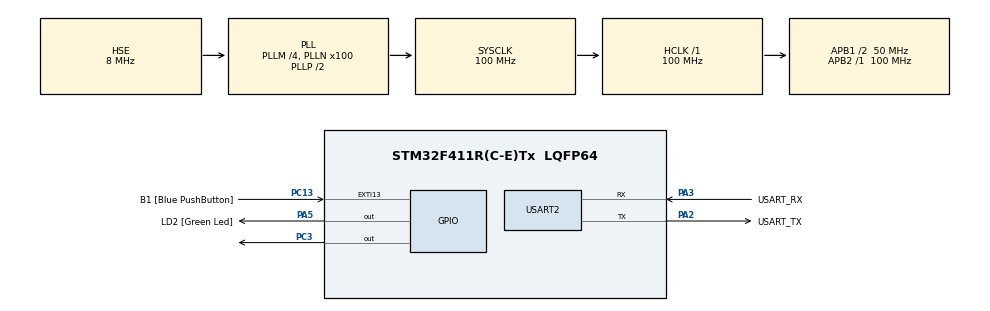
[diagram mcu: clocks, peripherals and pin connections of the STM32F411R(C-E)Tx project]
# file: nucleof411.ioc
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Mcu.Family=STM32F4
Mcu.Name=STM32F411R(C-E)Tx
Mcu.Package=LQFP64
NVIC.EXTI15_10_IRQn=true\:0\:0\:false\:false\:true\:true\:true\:true
NVIC.PriorityGroup=NVIC_PRIORITYGROUP_0
NVIC.TIM2_IRQn=true\:0\:0\:false\:false\:true\:true\:true\:true
PA13.GPIO_Label=TMS
PA13.Mode=Serial_Wire
PA13.Signal=SYS_JTMS-SWDIO
PA14.GPIO_Label=TCK
PA14.Mode=Serial_Wire
PA14.Signal=SYS_JTCK-SWCLK
PA2.GPIO_Label=USART_TX
PA2.Mode=Asynchronous
PA2.Signal=USART2_TX
PA3.GPIO_Label=USART_RX
PA3.Mode=Asynchronous
PA3.Signal=USART2_RX
PA5.GPIO_Label=LD2 [Green Led]
PA5.Signal=GPIO_Output
PB3.GPIO_Label=SWO
PB3.Signal=SYS_JTDO-SWO
PC13-ANTI_TAMP.GPIO_Label=B1 [Blue PushButton]
PC13-ANTI_TAMP.GPIO_ModeDefaultEXTI=GPIO_MODE_IT_FALLING
PC13-ANTI_TAMP.Signal=GPXTI13
PC14-OSC32_IN.Mode=LSE-External-Oscillator
PC14-OSC32_IN.Signal=RCC_OSC32_IN
PC15-OSC32_OUT.Mode=LSE-External-Oscillator
PC15-OSC32_OUT.Signal=RCC_OSC32_OUT
PC3.Signal=GPIO_Output
PH0\ -\ OSC_IN.Mode=HSE-External-Clock-Source
PH0\ -\ OSC_IN.Signal=RCC_OSC_IN
PH1\ -\ OSC_OUT.Mode=HSE-External-Clock-Source
PH1\ -\ OSC_OUT.Signal=RCC_OSC_OUT
ProjectManager.HeapSize=0x200
ProjectManager.StackSize=0x400
ProjectManager.TargetToolchain=STM32CubeIDE
RCC.48MHZClocksFreq_Value=50000000
RCC.AHBFreq_Value=100000000
RCC.APB1CLKDivider=RCC_HCLK_DIV2
RCC.APB1Freq_Value=50000000
RCC.APB1TimFreq_Value=100000000
RCC.APB2Freq_Value=100000000
RCC.APB2TimFreq_Value=100000000
RCC.CortexFreq_Value=100000000
RCC.FLatency-AdvancedSettings=FLASH_LATENCY_3
RCC.HCLKFreq_Value=100000000
RCC.HSE_VALUE=8000000
RCC.HSI_VALUE=16000000
RCC.PLLM=4
RCC.PLLN=100
RCC.PLLSourceVirtual=RCC_PLLSOURCE_HSE
RCC.SYSCLKFreq_VALUE=100000000
RCC.SYSCLKSource=RCC_SYSCLKSOURCE_PLLCLK
RCC.VCOOutputFreq_Value=200000000
TIM2.Period=1999
TIM2.Prescaler=9999
USART2.VirtualMode=VM_ASYNC
VP_TIM2_VS_ClockSourceINT.Mode=Internal
board=NUCLEO-F411RE

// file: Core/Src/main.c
/* USER CODE BEGIN Header */
/**
  ******************************************************************************
  * @file           : main.c
  * @brief          : Main program body
  ******************************************************************************
  * @attention
  *
  * Copyright (c) 2026 STMicroelectronics.
  * All rights reserved.
  *
  * This software is licensed under terms that can be found in the LICENSE file
  * in the root directory of this software component.
  * If no LICENSE file comes with this software, it is provided AS-IS.
  *
  ******************************************************************************
  */
/* USER CODE END Header */
#include "main.h"
#include <stdio.h>

TIM_HandleTypeDef htim2;

UART_HandleTypeDef huart2;

/* USER CODE BEGIN PV */
static void MX_TIM2_Init(void);
uint8_t click = 0;
char msg3[50];
/* USER CODE END PV */

void SystemClock_Config(void);
static void MX_GPIO_Init(void);
static void MX_USART2_UART_Init(void);
static void MX_TIM2_Init(void);

int main(void)
{

  /* MCU Configuration--------------------------------------------------------*/

  /* Reset of all peripherals, Initializes the Flash interface and the Systick. */
  HAL_Init();

  /* Configure the system clock */
  SystemClock_Config();

  /* Initialize all configured peripherals */
  MX_GPIO_Init();
  MX_USART2_UART_Init();
  MX_TIM2_Init();
  /* USER CODE BEGIN 2 */
  HAL_TIM_Base_Start_IT(&htim2);
  /* USER CODE END 2 */

  /* Infinite loop */
  /* USER CODE BEGIN WHILE */
  while (1)
  {
	  __WFI();
    /* USER CODE END WHILE */
  }
}

void SystemClock_Config(void)
{
  RCC_OscInitTypeDef RCC_OscInitStruct = {0};
  RCC_ClkInitTypeDef RCC_ClkInitStruct = {0};

  /** Configure the main internal regulator output voltage
  */
  __HAL_RCC_PWR_CLK_ENABLE();
  __HAL_PWR_VOLTAGESCALING_CONFIG(PWR_REGULATOR_VOLTAGE_SCALE1);

  /** Initializes the RCC Oscillators according to the specified parameters
  * in the RCC_OscInitTypeDef structure.
  */
  RCC_OscInitStruct.OscillatorType = RCC_OSCILLATORTYPE_HSE;
  RCC_OscInitStruct.HSEState = RCC_HSE_BYPASS;
  RCC_OscInitStruct.PLL.PLLState = RCC_PLL_ON;
  RCC_OscInitStruct.PLL.PLLSource = RCC_PLLSOURCE_HSE;
  RCC_OscInitStruct.PLL.PLLM = 4;
  RCC_OscInitStruct.PLL.PLLN = 100;
  RCC_OscInitStruct.PLL.PLLP = RCC_PLLP_DIV2;
  RCC_OscInitStruct.PLL.PLLQ = 4;
  if (HAL_RCC_OscConfig(&RCC_OscInitStruct) != HAL_OK)
  {
    Error_Handler();
  }

  /** Initializes the CPU, AHB and APB buses clocks
  */
  RCC_ClkInitStruct.ClockType = RCC_CLOCKTYPE_HCLK|RCC_CLOCKTYPE_SYSCLK
                              |RCC_CLOCKTYPE_PCLK1|RCC_CLOCKTYPE_PCLK2;
  RCC_ClkInitStruct.SYSCLKSource = RCC_SYSCLKSOURCE_PLLCLK;
  RCC_ClkInitStruct.AHBCLKDivider = RCC_SYSCLK_DIV1;
  RCC_ClkInitStruct.APB1CLKDivider = RCC_HCLK_DIV2;
  RCC_ClkInitStruct.APB2CLKDivider = RCC_HCLK_DIV1;

  if (HAL_RCC_ClockConfig(&RCC_ClkInitStruct, FLASH_LATENCY_3) != HAL_OK)
  {
    Error_Handler();
  }
}

static void MX_TIM2_Init(void)
{

  TIM_ClockConfigTypeDef sClockSourceConfig = {0};
  TIM_MasterConfigTypeDef sMasterConfig = {0};

  htim2.Instance = TIM2;
  htim2.Init.Prescaler = 9999;
  htim2.Init.CounterMode = TIM_COUNTERMODE_UP;
  htim2.Init.Period = 1999;
  htim2.Init.ClockDivision = TIM_CLOCKDIVISION_DIV1;
  htim2.Init.AutoReloadPreload = TIM_AUTORELOAD_PRELOAD_DISABLE;
  if (HAL_TIM_Base_Init(&htim2) != HAL_OK)
  {
    Error_Handler();
  }
  sClockSourceConfig.ClockSource = TIM_CLOCKSOURCE_INTERNAL;
  if (HAL_TIM_ConfigClockSource(&htim2, &sClockSourceConfig) != HAL_OK)
  {
    Error_Handler();
  }
  sMasterConfig.MasterOutputTrigger = TIM_TRGO_RESET;
  sMasterConfig.MasterSlaveMode = TIM_MASTERSLAVEMODE_DISABLE;
  if (HAL_TIMEx_MasterConfigSynchronization(&htim2, &sMasterConfig) != HAL_OK)
  {
    Error_Handler();
  }

}

static void MX_USART2_UART_Init(void)
{

  huart2.Instance = USART2;
  huart2.Init.BaudRate = 115200;
  huart2.Init.WordLength = UART_WORDLENGTH_8B;
  huart2.Init.StopBits = UART_STOPBITS_1;
  huart2.Init.Parity = UART_PARITY_NONE;
  huart2.Init.Mode = UART_MODE_TX_RX;
  huart2.Init.HwFlowCtl = UART_HWCONTROL_NONE;
  huart2.Init.OverSampling = UART_OVERSAMPLING_16;
  if (HAL_UART_Init(&huart2) != HAL_OK)
  {
    Error_Handler();
  }

}

static void MX_GPIO_Init(void)
{
  GPIO_InitTypeDef GPIO_InitStruct = {0};

  /* GPIO Ports Clock Enable */
  __HAL_RCC_GPIOC_CLK_ENABLE();
  __HAL_RCC_GPIOH_CLK_ENABLE();
  __HAL_RCC_GPIOA_CLK_ENABLE();
  __HAL_RCC_GPIOB_CLK_ENABLE();

  /*Configure GPIO pin Output Level */
  HAL_GPIO_WritePin(GPIOC, GPIO_PIN_3, GPIO_PIN_RESET);

  /*Configure GPIO pin Output Level */
  HAL_GPIO_WritePin(LD2_GPIO_Port, LD2_Pin, GPIO_PIN_RESET);

  /*Configure GPIO pin : B1_Pin */
  GPIO_InitStruct.Pin = B1_Pin;
  GPIO_InitStruct.Mode = GPIO_MODE_IT_FALLING;
  GPIO_InitStruct.Pull = GPIO_NOPULL;
  HAL_GPIO_Init(B1_GPIO_Port, &GPIO_InitStruct);

  /*Configure GPIO pin : PC3 */
  GPIO_InitStruct.Pin = GPIO_PIN_3;
  GPIO_InitStruct.Mode = GPIO_MODE_OUTPUT_PP;
  GPIO_InitStruct.Pull = GPIO_NOPULL;
  GPIO_InitStruct.Speed = GPIO_SPEED_FREQ_LOW;
  HAL_GPIO_Init(GPIOC, &GPIO_InitStruct);

  /*Configure GPIO pin : LD2_Pin */
  GPIO_InitStruct.Pin = LD2_Pin;
  GPIO_InitStruct.Mode = GPIO_MODE_OUTPUT_PP;
  GPIO_InitStruct.Pull = GPIO_NOPULL;
  GPIO_InitStruct.Speed = GPIO_SPEED_FREQ_LOW;
  HAL_GPIO_Init(LD2_GPIO_Port, &GPIO_InitStruct);

  /* EXTI interrupt init*/
  HAL_NVIC_SetPriority(EXTI15_10_IRQn, 0, 0);
  HAL_NVIC_EnableIRQ(EXTI15_10_IRQn);

}

/* USER CODE BEGIN 4 */
void HAL_GPIO_EXTI_Callback(uint16_t GPIO_Pin)
{
    if (GPIO_Pin == GPIO_PIN_13)
    {
        HAL_GPIO_TogglePin(GPIOA, GPIO_PIN_5);
        click = click + 1;
    }
}

void HAL_TIM_PeriodElapsedCallback(TIM_HandleTypeDef *htim)
{
    if (htim->Instance == TIM2)
    {
    	snprintf(msg3, sizeof(msg3), "Clicks: %u\r\n", click);
    	if (HAL_GPIO_ReadPin(GPIOA, GPIO_PIN_5) == GPIO_PIN_SET)
    	{
    		char msg1[] = "LED is SET\r\n";
    	    HAL_UART_Transmit(&huart2, (uint8_t *)msg1,
    	                      sizeof(msg1) - 1, 100);
    	    HAL_UART_Transmit(&huart2, (uint8_t *)msg3,
    	        	                      sizeof(msg3) - 1, 100);
    	}
    	else
    	{
    		char msg2[] = "LED is RESET\r\n";
    	    HAL_UART_Transmit(&huart2, (uint8_t *)msg2,
    	                      sizeof(msg2) - 1, 100);
    	    HAL_UART_Transmit(&huart2, (uint8_t *)msg3,
    	        	        	          sizeof(msg3) - 1, 100);
    	}
    }
}

/* USER CODE END 4 */

void Error_Handler(void)
{
  __disable_irq();
  while (1)
  {
  }
}
